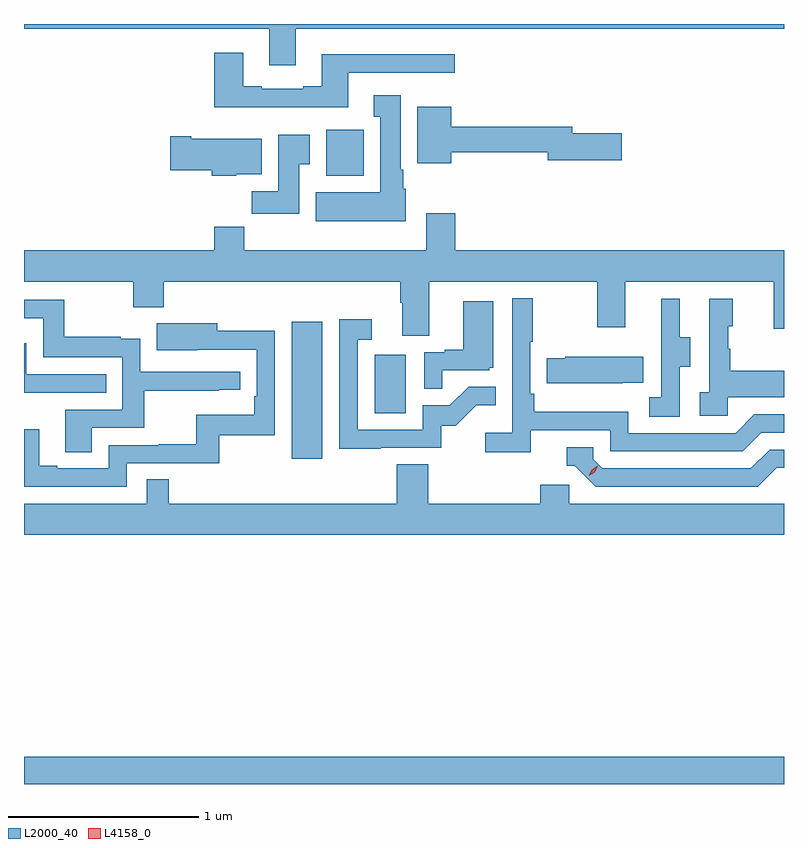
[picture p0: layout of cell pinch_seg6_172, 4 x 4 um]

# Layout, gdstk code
import gdstk
lib = gdstk.Library(unit=1e-6, precision=1e-09)
def R(c, l, rs):  # rectangles x0, y0, x1, y1
    for r in rs: c.add(gdstk.rectangle(r[:2], r[2:], *l))
def P(c, l, *ps):  # polygons
    for p in ps: c.add(gdstk.Polygon(p, *l))
L2000_40 = (2000, 40)
L4158_0 = (4158, 0)

pinch_seg6_172 = lib.new_cell('pinch_seg6_172')
R(pinch_seg6_172, L2000_40, [(1065.461,926.044,1069.461,926.188), (1066.871,927.756,1067.032,928.477), (1067.306,927.996,1067.47,928.303), (1067.051,929.246,1067.248,929.488)])
P(pinch_seg6_172, L2000_40, [(1066.891,930.02),(1069.461,930.02),(1069.461,930.044),(1065.461,930.044),(1065.461,930.02),(1066.751,930.02),(1066.751,929.826),(1066.891,929.826)],
  [(1067.167,929.787),(1067.728,929.787),(1067.728,929.884),(1067.027,929.884),(1067.027,929.716),(1066.931,929.716),(1066.931,929.703),(1066.711,929.703),(1066.711,929.716),(1066.615,929.716),(1066.615,929.893),(1066.463,929.893),(1066.463,929.606),(1067.167,929.606)],
  [(1067.47,929.178),(1067.458,929.178),(1067.458,929.278),(1067.443,929.278),(1067.443,929.668),(1067.303,929.668),(1067.303,929.555),(1067.336,929.555),(1067.336,929.158),(1066.997,929.158),(1066.997,929.006),(1067.47,929.006)],
  [(1067.71,929.368),(1068.218,929.368),(1068.218,929.326),(1068.607,929.326),(1068.607,929.468),(1068.346,929.468),(1068.346,929.504),(1067.71,929.504),(1067.71,929.608),(1067.531,929.608),(1067.531,929.312),(1067.71,929.312)],
  [(1066.909,929.305),(1066.966,929.305),(1066.966,929.461),(1066.799,929.461),(1066.799,929.164),(1066.66,929.164),(1066.66,929.046),(1066.909,929.046)],
  [(1066.578,929.252),(1066.711,929.252),(1066.711,929.44),(1066.342,929.44),(1066.342,929.453),(1066.23,929.453),(1066.23,929.275),(1066.448,929.275),(1066.448,929.246),(1066.578,929.246)],
  [(1067.593,928.688),(1068.478,928.688),(1068.478,928.449),(1068.625,928.449),(1068.625,928.688),(1069.406,928.688),(1069.406,928.44),(1069.461,928.44),(1069.461,928.852),(1067.732,928.852),(1067.732,929.047),(1067.579,929.047),(1067.579,928.852),(1066.619,928.852),(1066.619,928.976),(1066.463,928.976),(1066.463,928.852),(1065.461,928.852),(1065.461,928.688),(1066.036,928.688),(1066.036,928.553),(1066.196,928.553),(1066.196,928.688),(1067.441,928.688),(1067.441,928.576),(1067.453,928.576),(1067.453,928.402),(1067.593,928.402)],
  [(1068.128,927.906),(1068.546,927.906),(1068.546,927.795),(1069.243,927.795),(1069.342,927.894),(1069.461,927.894),(1069.461,927.99),(1069.305,927.99),(1069.206,927.891),(1068.642,927.891),(1068.642,928.003),(1068.146,928.003),(1068.146,928.099),(1068.126,928.099),(1068.126,928.372),(1068.139,928.372),(1068.139,928.6),(1068.03,928.6),(1068.03,927.892),(1067.889,927.892),(1067.889,927.79),(1068.128,927.79)],
  [(1069.164,928.079),(1069.461,928.079),(1069.461,928.219),(1069.177,928.219),(1069.177,928.334),(1069.167,928.334),(1069.167,928.452),(1069.192,928.452),(1069.192,928.597),(1069.068,928.597),(1069.068,928.106),(1069.017,928.106),(1069.017,927.981),(1069.164,927.981)],
  [(1068.912,928.24),(1068.967,928.24),(1068.967,928.395),(1068.913,928.395),(1068.913,928.597),(1068.815,928.597),(1068.815,928.383),(1068.816,928.383),(1068.816,928.079),(1068.753,928.079),(1068.753,927.976),(1068.912,927.976)],
  [(1065.817,927.918),(1066.094,927.918),(1066.094,928.114),(1066.487,928.114),(1066.487,928.119),(1066.6,928.119),(1066.6,928.215),(1066.074,928.215),(1066.074,928.387),(1065.971,928.387),(1065.971,928.399),(1065.673,928.399),(1065.673,928.593),(1065.461,928.593),(1065.461,928.496),(1065.562,928.496),(1065.562,928.29),(1065.978,928.29),(1065.978,928.014),(1065.677,928.014),(1065.677,927.79),(1065.817,927.79)],
  [(1067.663,928.221),(1067.91,928.221),(1067.91,928.236),(1067.932,928.236),(1067.932,928.585),(1067.774,928.585),(1067.774,928.33),(1067.675,928.33),(1067.675,928.317),(1067.568,928.317),(1067.568,928.123),(1067.663,928.123)],
  [(1067.339,927.813),(1067.658,927.813),(1067.658,927.93),(1067.734,927.93),(1067.841,928.037),(1067.945,928.037),(1067.945,928.136),(1067.801,928.136),(1067.703,928.038),(1067.559,928.038),(1067.559,927.909),(1067.217,927.909),(1067.217,928.383),(1067.29,928.383),(1067.29,928.489),(1067.121,928.489),(1067.121,927.808),(1067.339,927.808)],
  [(1066.002,927.732),(1066.489,927.732),(1066.489,927.879),(1066.782,927.879),(1066.782,928.43),(1066.477,928.43),(1066.477,928.468),(1066.159,928.468),(1066.159,928.328),(1066.373,928.328),(1066.373,928.329),(1066.686,928.329),(1066.686,928.084),(1066.673,928.084),(1066.673,927.988),(1066.368,927.988),(1066.368,927.833),(1066.171,927.833),(1066.171,927.828),(1065.906,927.828),(1065.906,927.705),(1065.637,927.705),(1065.637,927.718),(1065.541,927.718),(1065.541,927.911),(1065.461,927.911),(1065.461,927.609),(1066.002,927.609)],
  [(1065.893,928.2),(1065.474,928.2),(1065.474,928.363),(1065.461,928.363),(1065.461,928.104),(1065.893,928.104)],
  [(1068.611,928.157),(1068.719,928.157),(1068.719,928.294),(1068.309,928.294),(1068.309,928.284),(1068.211,928.284),(1068.211,928.154),(1068.611,928.154)],
  [(1069.423,927.708),(1069.461,927.708),(1069.461,927.804),(1069.386,927.804),(1069.287,927.705),(1068.504,927.705),(1068.456,927.753),(1068.456,927.816),(1068.317,927.816),(1068.317,927.72),(1068.36,927.72),(1068.471,927.609),(1069.324,927.609)],
  [(1069.461,927.52),(1068.33,927.52),(1068.33,927.618),(1068.179,927.618),(1068.179,927.52),(1067.588,927.52),(1067.588,927.728),(1067.423,927.728),(1067.423,927.52),(1066.223,927.52),(1066.223,927.647),(1066.107,927.647),(1066.107,927.52),(1065.461,927.52),(1065.461,927.356),(1069.461,927.356)])
P(pinch_seg6_172, L4158_0, [(1068.434,927.666),(1068.434,927.666),(1068.45,927.699),(1068.481,927.718),(1068.481,927.718),(1068.481,927.718),(1068.465,927.685),(1068.434,927.666)])

lib.write_gds('pinch_seg6_172.gds')
